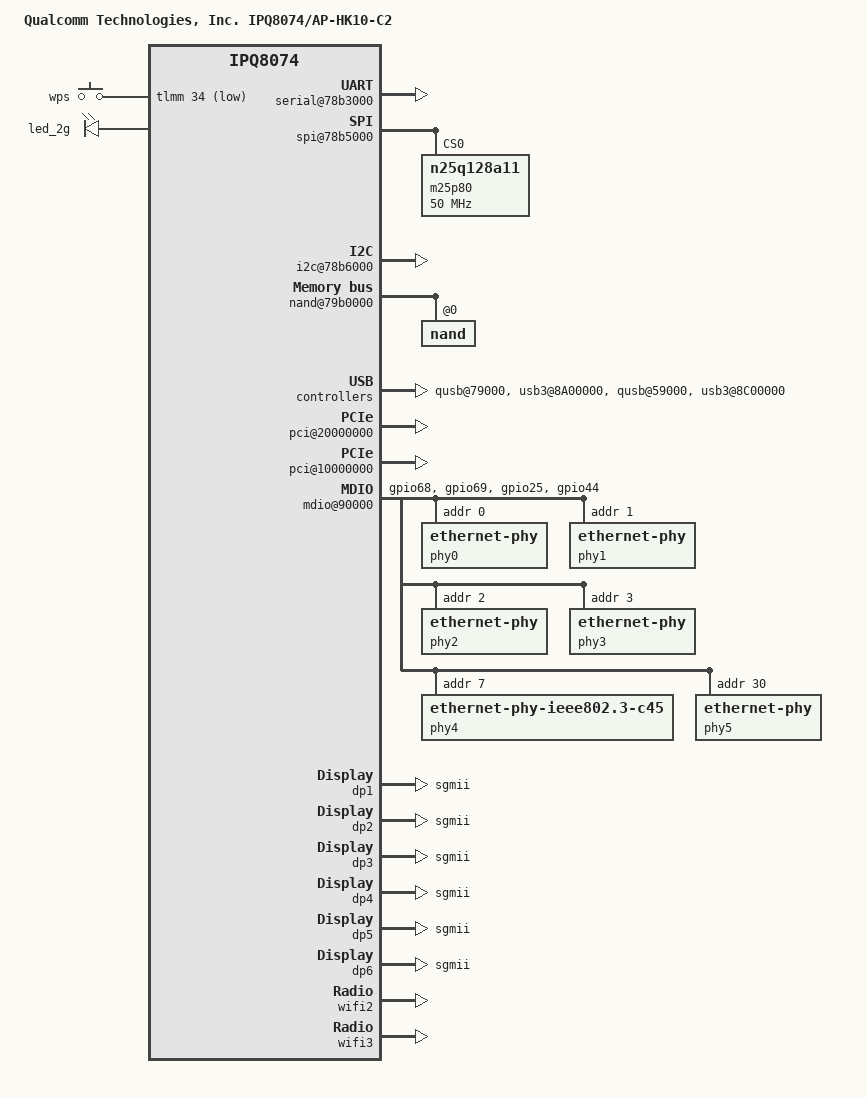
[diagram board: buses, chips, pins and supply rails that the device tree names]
// SPDX-License-Identifier: GPL-2.0-only
/dts-v1/;
/* Copyright (c) 2020 The Linux Foundation. All rights reserved.
 * Copyright (c) 2021 Qualcomm Innovation Center, Inc. All rights reserved.
 */
#include "ipq8074.dtsi"
#include "ipq8074-hk-cpu.dtsi"

/* Internal radio is not enabled on hk10.c2, so delete the
 * references to internal radio's reserved memory
 */
#if !defined(__IPQ_MEM_PROFILE_256_MB__)
&tmc_etr {
	/delete-property/ memory-region;
};

&q6v5_wcss {
	/delete-property/ memory-region;
};
#endif

/ {
	#address-cells = <0x2>;
	#size-cells = <0x2>;
	model = "Qualcomm Technologies, Inc. IPQ8074/AP-HK10-C2";
	compatible = "qcom,ipq8074-ap-hk10-c2", "qcom,ipq8074-ap-hk10", "qcom,ipq8074";
	qcom,msm-id = <0x143 0x0>, <0x186 0x0>;
	interrupt-parent = <&intc>;

	aliases {
		serial0 = &blsp1_uart5;
		/* Aliases as required by u-boot to patch MAC addresses */
		ethernet0 = "/soc/dp1";
		ethernet1 = "/soc/dp2";
		ethernet2 = "/soc/dp3";
		ethernet3 = "/soc/dp4";
		ethernet4 = "/soc/dp5";
		ethernet5 = "/soc/dp6";
	};

	chosen {
		stdout-path = "serial0";
	};

	reserved-memory {
/* No Pine attach in 256M profile */
#if !defined(__IPQ_MEM_PROFILE_256_MB__)
#ifdef __IPQ_MEM_PROFILE_512_MB__
	/*                      512 MB Profile
	 * +========+==============+=========================+
	 * | Region | Start Offset |          Size           |
	 * +--------+--------------+-------------------------+
	 * |  NSS   |  0x40000000  |          16MB           |
	 * +--------+--------------+-------------------------+
	 * | Linux  |  0x41000000  | Depends on total memory |
	 * +--------+--------------+-------------------------+
	 * | TZ APP |  0x4A400000  |           1MB           |
	 * +--------+--------------+-------------------------+
	 * | uboot  |  0x4A600000  |           4MB           |
	 * +--------+--------------+-------------------------+
	 * |  SBL   |  0x4AA00000  |           1MB           |
	 * +--------+--------------+-------------------------+
	 * |  smem  |  0x4AB00000  |           1MB           |
	 * +--------+--------------+-------------------------+
	 * |   TZ   |  0x4AC00000  |           4MB           |
	 * +--------+--------------+-------------------------+
	 * |  Pine0 |  0x4B000000  |          26MB           |
	 * +--------+--------------+-------------------------+
	 * |  Pine1 |  0x4CA00000  |          26MB           |
	 * +--------+--------------+-------------------------+
	 * |  MHI0  |  0x4E400000  |           9MB           |
	 * +--------+--------------+-------------------------+
	 * |  MHI1  |  0x4ED00000  |           9MB           |
	 * +--------+--------------+-------------------------+
	 * |                                                 |
	 * |      Rest of the memory for Linux               |
	 * |                                                 |
	 * +=================================================+
	 */
		/delete-node/ wcnss@4b000000;
		/delete-node/ q6_etr_dump@4e700000;
		/delete-node/ m3_dump@4e800000;
		qcn9000_pcie0: qcn9000_pcie0@4b000000 {
			no-map;
			reg = <0x0 0x4b000000 0x0 0x01A00000>;
		};

		qcn9000_pcie1: qcn9000_pcie1@4CA00000 {
			no-map;
			reg = <0x0 0x4CA00000 0x0 0x01A00000>;
		};

#if defined(__CNSS2__)
		mhi_region0: dma_pool0@4E400000 {
			compatible = "shared-dma-pool";
			no-map;
			reg = <0x0 0x4E400000 0x0 0x00900000>;
		};

		mhi_region1: dma_pool1@4ED00000 {
			compatible = "shared-dma-pool";
			no-map;
			reg = <0x0 0x4ED00000 0x0 0x00900000>;
		};
#endif
#else
	/*                   Default Profile
	 * +========+==============+=========================+
	 * | Region | Start Offset |          Size           |
	 * +--------+--------------+-------------------------+
	 * |  NSS   |  0x40000000  |          16MB           |
	 * +--------+--------------+-------------------------+
	 * | Linux  |  0x41000000  | Depends on total memory |
	 * +--------+--------------+-------------------------+
	 * | TZ APP |  0x4A400000  |           2MB           |
	 * +--------+--------------+-------------------------+
	 * | uboot  |  0x4A600000  |           4MB           |
	 * +--------+--------------+-------------------------+
	 * |  SBL   |  0x4AA00000  |           1MB           |
	 * +--------+--------------+-------------------------+
	 * |  smem  |  0x4AB00000  |           1MB           |
	 * +--------+--------------+-------------------------+
	 * |   TZ   |  0x4AC00000  |           4MB           |
	 * +--------+--------------+-------------------------+
	 * |  Pine0 |  0x4B000000  |          53MB           |
	 * +--------+--------------+-------------------------+
	 * |  Pine1 |  0x4E500000  |          53MB           |
	 * +--------+--------------+-------------------------+
	 * |  MHI0  |  0x51A00000  |           5MB           |
	 * +--------+--------------+-------------------------+
	 * |  MHI1  |  0x51F00000  |           5MB           |
	 * +--------+--------------+-------------------------+
	 * |                                                 |
	 * |      Rest of the memory for Linux               |
	 * |                                                 |
	 * +=================================================+
	 */
		/delete-node/ wcnss@4b000000;
		/delete-node/ q6_etr_dump@50f00000;
		/delete-node/ m3_dump@51000000;
		qcn9000_pcie0: qcn9000_pcie0@4b000000 {
			no-map;
			reg = <0x0 0x4b000000 0x0 0x03500000>;
		};

		qcn9000_pcie1: qcn9000_pcie1@4e500000 {
			no-map;
			reg = <0x0 0x4E500000 0x0 0x03500000>;
		};

#if defined(__CNSS2__)
		mhi_region0: dma_pool0@51a00000 {
			compatible = "shared-dma-pool";
			no-map;
			reg = <0x0 0x51A00000 0x0 0x00500000>;
		};

		mhi_region1: dma_pool1@51F00000 {
			compatible = "shared-dma-pool";
			no-map;
			reg = <0x0 0x51F00000 0x0 0x00500000>;
		};
#endif
#endif
#endif
	};

	soc {
		pinctrl@1000000 {
			button_pins: button_pins {
				wps_button {
					pins = "gpio34";
					function = "gpio";
					drive-strength = <8>;
					bias-pull-up;
				};
			};

			usb_mux_sel_pins: usb_mux_pins {
				mux {
					pins = "gpio27";
					function = "gpio";
					drive-strength = <8>;
					bias-pull-down;
				};
			};

			pcie0_pins: pcie_pins {
				pcie0_rst {
					pins = "gpio58";
					function = "pcie0_rst";
					drive-strength = <8>;
					bias-pull-down;
				};
				pcie0_wake {
					pins = "gpio59";
					function = "pcie0_wake";
					drive-strength = <8>;
					bias-pull-down;
				};
			};

			mdio_pins: mdio_pinmux {
				mux_0 {
					pins = "gpio68";
					function = "mdc";
					drive-strength = <8>;
					bias-pull-up;
				};
				mux_1 {
					pins = "gpio69";
					function = "mdio";
					drive-strength = <8>;
					bias-pull-up;
				};
				mux_2 {
					pins = "gpio25";
					function = "gpio";
					bias-pull-up;
				};
				mux_3 {
					pins = "gpio44";
					function = "gpio";
					bias-pull-up;
				};
			};

			uniphy_pins: uniphy_pinmux {
				mux1 {
					pins = "gpio27";
					function = "gpio";
					drive-strength = <16>;
					output-high;
					bias-pull-up;
				};
				mux2 {
					pins = "gpio60";
					function = "rx2";
					bias-disable;
				};
				sfp_tx {
					pins = "gpio59";
					function = "gpio";
					drive-strength = <8>;
					bias-pull-down;
					output-low;
				};
			};

			led_pins: led_pins {
				led_2g {
					pins = "gpio18";
					function = "gpio";
					drive-strength = <8>;
					bias-pull-down;
				};
			};
		};

		serial@78b3000 {
			status = "ok";
		};

		spi@78b5000 {
			status = "ok";
			pinctrl-0 = <&spi_0_pins>;
			pinctrl-names = "default";
			cs-select = <0>;

			m25p80@0 {
				  compatible = "n25q128a11";
				  #address-cells = <1>;
				  #size-cells = <1>;
				  reg = <0>;
				  spi-max-frequency = <50000000>;
			};
		};

		dma@7984000 {
			 status = "ok";
		};

		i2c@78b6000 {
			status = "ok";
		};

		nand@79b0000 {
			status = "ok";

			nand@0 {
				reg = <0>;
				#address-cells = <1>;
				#size-cells = <1>;

				nand-ecc-strength = <4>;
				nand-ecc-step-size = <512>;
				nand-bus-width = <8>;
			};
		};

		qusb@79000 {
			status = "ok";
		};

		ssphy@78000 {
			status = "ok";
		};

		usb3@8A00000 {
			status = "ok";
		};

		qusb@59000 {
			status = "ok";
		};

		ssphy@58000 {
			status = "ok";
		};

		usb3@8C00000 {
			status = "ok";
		};

		qcom,test@0 {
			status = "ok";
		};

		phy@84000 {
			status = "ok";
		};

		phy@86000 {
			status = "ok";
		};

		pci@20000000 {
			perst-gpio = <&tlmm 58 1>;
			status = "ok";

			pcie0_rp: pcie0_rp {
				reg = <0 0 0 0 0>;
			};
		};

		phy@8e000 {
			status = "ok";
		};

		pci@10000000 {
			perst-gpio = <&tlmm 61 0x1>;
			status = "ok";

			pcie1_rp: pcie1_rp {
				reg = <0 0 0 0 0>;
			};
		};

		mdio@90000 {
			pinctrl-0 = <&mdio_pins>;
			pinctrl-names = "default";
			phy-reset-gpio = <&tlmm 37 0>;
			phy0: ethernet-phy@0 {
				reg = <0>;
			};
			phy1: ethernet-phy@1 {
				reg = <1>;
			};
			phy2: ethernet-phy@2 {
				reg = <2>;
			};
			phy3: ethernet-phy@3 {
				reg = <3>;
			};
			phy4: ethernet-phy@4 {
				compatible ="ethernet-phy-ieee802.3-c45";
				reg = <7>;
			};
			phy5: ethernet-phy@5 {
				reg = <30>;
			};
		};

		ess-switch@3a000000 {
			pinctrl-0 = <&uniphy_pins>;
			pinctrl-names = "default";
			switch_cpu_bmp = <0x1>;  /* cpu port bitmap */
			switch_lan_bmp = <0x3e>; /* lan port bitmap */
			switch_wan_bmp = <0x40>; /* wan port bitmap */
			switch_mac_mode = <0x0>; /* mac mode for uniphy instance0*/
			switch_mac_mode1 = <0xd>; /* mac mode for uniphy instance1*/
			switch_mac_mode2 = <0xe>; /* mac mode for uniphy instance2*/
			bm_tick_mode = <0>; /* bm tick mode */
			tm_tick_mode = <0>; /* tm tick mode */
			cmnblk_clk = "external_50MHz";
			qcom,port_phyinfo {
				port@0 {
					port_id = <1>;
					phy_address = <0>;
				};
				port@1 {
					port_id = <2>;
					phy_address = <1>;
				};
				port@2 {
					port_id = <3>;
					phy_address = <2>;
				};
				port@3 {
					port_id = <4>;
					phy_address = <3>;
				};
				port@4 {
					port_id = <5>;
					phy_address = <7>;
					ethernet-phy-ieee802.3-c45;
				};
				port@5 {
					port_id = <6>;
					phy_address = <30>;
					phy_i2c_address = <30>;
					phy-i2c-mode; /*i2c access phy */
					media-type = "sfp"; /* fiber mode */
				};
			};
		};
		gpio_keys {
			compatible = "gpio-keys";
			pinctrl-0 = <&button_pins>;
			pinctrl-names = "default";
			status = "ok";

			button@1 {
				label = "wps";
				linux,code = <KEY_WPS_BUTTON>;
				gpios = <&tlmm 34 GPIO_ACTIVE_LOW>;
				linux,input-type = <1>;
				debounce-interval = <60>;
			};
		};

		leds {
			compatible = "gpio-leds";
			pinctrl-0 = <&led_pins>;
			pinctrl-names = "default";

			led_2g {
				label = "led_2g";
				gpio = <&tlmm 18 GPIO_ACTIVE_HIGH>;
				default-state = "off";
			};
		};

		dp1 {
			device_type = "network";
			compatible = "qcom,nss-dp";
			qcom,id = <1>;
			reg = <0x3a001000 0x200>;
			qcom,mactype = <0>;
			local-mac-address = [000000000000];
			qcom,link-poll = <1>;
			qcom,phy-mdio-addr = <0>;
			phy-mode = "sgmii";
		};

		dp2 {
			device_type = "network";
			compatible = "qcom,nss-dp";
			qcom,id = <2>;
			reg = <0x3a001200 0x200>;
			qcom,mactype = <0>;
			local-mac-address = [000000000000];
			qcom,link-poll = <1>;
			qcom,phy-mdio-addr = <1>;
			phy-mode = "sgmii";
		};

		dp3 {
			device_type = "network";
			compatible = "qcom,nss-dp";
			qcom,id = <3>;
			reg = <0x3a001400 0x200>;
			qcom,mactype = <0>;
			local-mac-address = [000000000000];
			qcom,link-poll = <1>;
			qcom,phy-mdio-addr = <2>;
			phy-mode = "sgmii";
		};

		dp4 {
			device_type = "network";
			compatible = "qcom,nss-dp";
			qcom,id = <4>;
			reg = <0x3a001600 0x200>;
			qcom,mactype = <0>;
			local-mac-address = [000000000000];
			qcom,link-poll = <1>;
			qcom,phy-mdio-addr = <3>;
			phy-mode = "sgmii";
		};

		dp5 {
			device_type = "network";
			compatible = "qcom,nss-dp";
			qcom,id = <5>;
			reg = <0x3a003000 0x3fff>;
			qcom,mactype = <1>;
			local-mac-address = [000000000000];
			qcom,link-poll = <1>;
			qcom,phy-mdio-addr = <7>;
			phy-mode = "sgmii";
		};

		dp6 {
			device_type = "network";
			compatible = "qcom,nss-dp";
			qcom,id = <6>;
			reg = <0x3a007000 0x3fff>;
			qcom,mactype = <1>;
			local-mac-address = [000000000000];
			qcom,link-poll = <1>;
			qcom,phy-mdio-addr = <30>;
			phy-mode = "sgmii";
		};
	};
};

&wifi0 {
	/delete-property/ mem-region;
	status = "disabled";
};

&wifi1 {
#if defined (__CNSS2__)
	/delete-property/ mem-region;
#else
	/delete-property/ memory-region;
#endif
	status = "disabled";
};

&wifi2 {
#if !defined(__IPQ_MEM_PROFILE_256_MB__)
#ifdef __IPQ_MEM_PROFILE_512_MB__
      /* QCN9000 tgt-mem-mode=1 layout - 26MB
       * +=========+==============+=========+
       * |  Region | Start Offset |   Size  |
       * +---------+--------------+---------+
       * | HREMOTE |  0x4B000000  |   12MB  |
       * +---------+--------------+---------+
       * | M3 Dump |  0x4BC00000  |   1MB   |
       * +---------+--------------+---------+
       * |   ETR   |  0x4BD00000  |   1MB   |
       * +---------+--------------+---------+
       * |  Caldb  |  0x4BE00000  |   8MB   |
       * +---------+--------------+---------+
       * | Pageable|  0x4C600000  |   4MB   |
       * +==================================+
       */
	base-addr = <0x4B000000>;
	m3-dump-addr = <0x4BC00000>;
	etr-addr = <0x4BD00000>;
	caldb-addr = <0x4BE00000>;
	pageable-addr = <0x4C600000>;
	hremote-size = <0xC00000>;
	tgt-mem-mode = <0x1>;
	pageable-size = <0x400000>;
#else
      /* QCN9000 tgt-mem-mode=0 layout - 45MB
       * +=========+==============+=========+
       * |  Region | Start Offset |   Size  |
       * +---------+--------------+---------+
       * | HREMOTE |  0x4B000000  |   35MB  |
       * +---------+--------------+---------+
       * | M3 Dump |  0x4D300000  |   1MB   |
       * +---------+--------------+---------+
       * |   ETR   |  0x4D400000  |   1MB   |
       * +---------+--------------+---------+
       * |  Caldb  |  0x4D500000  |   8MB   |
       * +---------+--------------+---------+
       * | Pageable|  0x4DD00000  |   8MB   |
       * +==================================+
       */
	base-addr = <0x4B000000>;
	m3-dump-addr = <0x4D300000>;
	etr-addr = <0x4D400000>;
	caldb-addr = <0x4D500000>;
	pageable-addr = <0x4DD00000>;
	hremote-size = <0x2300000>;
	tgt-mem-mode = <0x0>;
	pageable-size = <0x800000>;
#endif
	caldb-size = <0x800000>;
	hremote_node = <&qcn9000_pcie0>;
	board_id = <0xa0>;
	status = "ok";
#endif
};

#if !defined(__IPQ_MEM_PROFILE_256_MB__)
&wifi3 {
#ifdef __IPQ_MEM_PROFILE_512_MB__
      /* QCN9000 tgt-mem-mode=1 layout - 26MB
       * +=========+==============+=========+
       * |  Region | Start Offset |   Size  |
       * +---------+--------------+---------+
       * | HREMOTE |  0x4CA00000  |   12MB  |
       * +---------+--------------+---------+
       * | M3 Dump |  0x4D600000  |   1MB   |
       * +---------+--------------+---------+
       * |   ETR   |  0x4D700000  |   1MB   |
       * +---------+--------------+---------+
       * |  Caldb  |  0x4D800000  |   8MB   |
       * +---------+--------------+---------+
       * | Pageable|  0x4E000000  |   4MB   |
       * +==================================+
       */
	base-addr = <0x4CA00000>;
	m3-dump-addr = <0x4D600000>;
	etr-addr = <0x4D700000>;
	caldb-addr = <0x4D800000>;
	pageable-addr = <0x4E000000>;
	hremote-size = <0xC00000>;
	tgt-mem-mode = <0x1>;
	pageable-size = <0x400000>;
#else
      /* QCN9000 tgt-mem-mode=0 layout - 45MB
       * +=========+==============+=========+
       * |  Region | Start Offset |   Size  |
       * +---------+--------------+---------+
       * | HREMOTE |  0x4E500000  |   35MB  |
       * +---------+--------------+---------+
       * | M3 Dump |  0x50800000  |   1MB   |
       * +---------+--------------+---------+
       * |   ETR   |  0x50900000  |   1MB   |
       * +---------+--------------+---------+
       * |  Caldb  |  0x50A00000  |   8MB   |
       * +---------+--------------+---------+
       * | Pageable|  0x51200000  |   8MB   |
       * +==================================+
       */
	base-addr = <0x4E500000>;
	m3-dump-addr = <0x50800000>;
	etr-addr = <0x50900000>;
	caldb-addr = <0x50A00000>;
	pageable-addr = <0x51200000>;
	hremote-size = <0x2300000>;
	tgt-mem-mode = <0x0>;
	pageable-size = <0x800000>;
#endif
	caldb-size = <0x800000>;
	hremote_node = <&qcn9000_pcie1>;
	board_id = <0xa1>;
	status = "ok";
};
#endif

&pcie0_rp {
	status = "ok";

#if defined(__CNSS2__)
	mhi_0: qcom,mhi@0 {
		reg = <0 0 0 0 0 >;
		#address-cells = <0x2>;
		#size-cells = <0x2>;
		qrtr_instance_id = <0x20>;
		qti,disable-rddm-prealloc;
		qti,rddm-seg-len = <0x1000>;
#if !defined(__IPQ_MEM_PROFILE_256_MB__)
		memory-region = <0>,<&mhi_region0>;
#endif
	};

#else
	mhi_0: wifi@0 {
		reg = <0 0 0 0 0 >;
		qrtr_instance_id = <0x20>;
		qcom,board_id= <0xa0>;
		memory-region = <&qcn9000_pcie0>;

		pcie0_mhi: pcie0_mhi {
			status = "ok";
		};
	};
#endif
};

&pcie1_rp {
	status = "ok";

#if defined(__CNSS2__)
	mhi_1: qcom,mhi@1 {
		reg = <0 0 0 0 0 >;
		#address-cells = <0x2>;
		#size-cells = <0x2>;
		qrtr_instance_id = <0x21>;
		qti,disable-rddm-prealloc;
		qti,rddm-seg-len = <0x1000>;
#if !defined(__IPQ_MEM_PROFILE_256_MB__)
		memory-region = <0>,<&mhi_region1>;
#endif
	};
#else
	mhi_1: wifi@1 {
		reg = <0 0 0 0 0 >;
		qrtr_instance_id = <0x21>;
		qcom,board_id= <0xa1>;
		memory-region = <&qcn9000_pcie1>;

		pcie1_mhi: pcie1_mhi {
			status = "ok";
		};
	};
#endif
};
